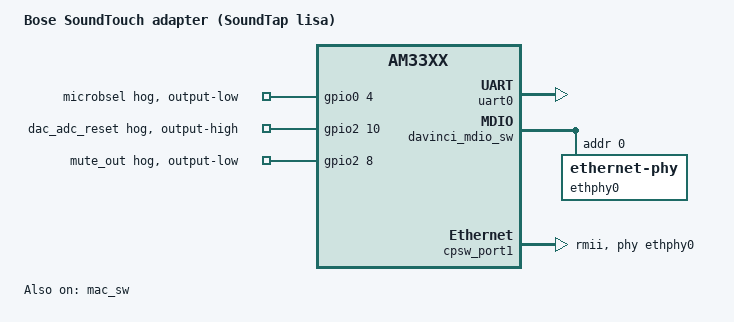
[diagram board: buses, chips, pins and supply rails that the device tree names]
// SPDX-License-Identifier: GPL-2.0-only
// SPDX-FileCopyrightText: 2026 SoundTap contributors
/*
 * The SoundTouch adapter on the Shelby 2 module (stock lisa, lisa2 under SoundTap), for the SA-4, SoundTouch Stereo JC,
 * Wave SoundTouch, CineMate and older Lifestyle and VideoWave hosts. Preview, never booted.
 * Compared with the stock rhino_sm2 tree, stock's lisa_sm2 changes these, so this is the ST10's
 * tree with them:
 *
 * - UART0 is the Bose link to the host (stock uart0_pins_default, 0x170 0x30 0x174 0x00), not
 *   the infrared receiver's line: soundtapd is the link's master over /dev/ttyS0
 *   (internal/abl). There is no IR receiver.
 * - No codec: stock disables the AIC3256 and sends I2S from McASP0 at 46875 Hz, on the ST10's
 *   pads, to a converter on the adapter board. The ST10's McASP output node stays. Stock's
 *   APConfig-<host> drives the converter through DacAdcReset (dac_adc_reset, gpio2_10, high
 *   enables it, 3 s after power-up) and mutes through the host (ABLMute), never mute_out: this
 *   tree holds the converter enabled and mute_out (gpio2_8) low, as stock's gpiodev boots it.
 * - The rear Ethernet port, wired as on the ST300 (stock rmii1_pins_default, RMII, PHY at 0).
 * - Two lamps, the Series III's: white PWM on DM timer 4, amber gpio2_17.
 * - The rear micro-B mux (gpiodev microbsel, gpio0_4) held low as stock boots it.
 */
#include "am335x-soundtap-st10.dts"

/ {
	model = "Bose SoundTouch adapter (SoundTap lisa)";
	compatible = "bose,lisa-sm2", "ti,am33xx";

	chosen {
		bootargs = "console=ttyS3,115200n8 root=ubi0:rootfs ro rootfstype=ubifs ubi.mtd=9,2048 rootwait init=/init mem=128M cma=8M panic=10 omap_wdt.early_enable=1 variant=lisa2 module_type=sm2 country=GB region=GB soundtap.nandroot=1 soundtap.watchdog=90";
	};

	/delete-node/ ir-receiver;

	leds {
		pinctrl-0 = <&wifi_amber_pins>;
		/delete-node/ bt-white;
		/delete-node/ soundtouch-white;
		/delete-node/ soundtouch-amber;
		/delete-node/ bt-blue;
		/delete-node/ aux-white;
	};
};

&am33xx_pinmux {
	/delete-node/ pinmux-ir-pins;

	wifi_amber_pins: pinmux-wifi-amber-pins {
		pinctrl-single,pins = <
			AM33XX_PADCONF(AM335X_PIN_LCD_DATA11, PIN_OUTPUT_PULLDOWN, MUX_MODE7) /* gpio2_17 wifi amber */
		>;
	};

	/* The Bose link: stock uart0_pins_default. */
	uart0_pins: pinmux-uart0-pins {
		pinctrl-single,pins = <
			AM33XX_PADCONF(AM335X_PIN_UART0_RXD, PIN_INPUT_PULLUP, MUX_MODE0)
			AM33XX_PADCONF(AM335X_PIN_UART0_TXD, PIN_OUTPUT, MUX_MODE0)
		>;
	};

	microbsel_pins: pinmux-microbsel-pins {
		pinctrl-single,pins = <
			AM33XX_PADCONF(AM335X_PIN_SPI0_D1, PIN_OUTPUT, MUX_MODE7) /* gpio0_4 microbsel */
			AM33XX_PADCONF(AM335X_PIN_GPMC_CLK, PIN_INPUT_PULLDOWN, MUX_MODE7) /* gpio2_1 microbdet (stock 0x8c 0x27) */
		>;
	};

	/* Stock rmii1_pins_default and davinci_mdio_default, as on the ST300. */
	rmii1_pins: pinmux-rmii1-pins {
		pinctrl-single,pins = <
			AM33XX_PADCONF(AM335X_PIN_MII1_CRS, PIN_INPUT_PULLDOWN, MUX_MODE1) /* rmii1_crs_dv */
			AM33XX_PADCONF(AM335X_PIN_MII1_RX_ER, PIN_INPUT_PULLDOWN, MUX_MODE1) /* rmii1_rx_er */
			AM33XX_PADCONF(AM335X_PIN_MII1_TX_EN, PIN_OUTPUT_PULLDOWN, MUX_MODE1) /* rmii1_tx_en */
			AM33XX_PADCONF(AM335X_PIN_MII1_TXD1, PIN_OUTPUT_PULLDOWN, MUX_MODE1) /* rmii1_txd1 */
			AM33XX_PADCONF(AM335X_PIN_MII1_TXD0, PIN_OUTPUT_PULLDOWN, MUX_MODE1) /* rmii1_txd0 */
			AM33XX_PADCONF(AM335X_PIN_MII1_RXD1, PIN_INPUT_PULLDOWN, MUX_MODE1) /* rmii1_rxd1 */
			AM33XX_PADCONF(AM335X_PIN_MII1_RXD0, PIN_INPUT_PULLDOWN, MUX_MODE1) /* rmii1_rxd0 */
			AM33XX_PADCONF(AM335X_PIN_RMII1_REF_CLK, PIN_INPUT_PULLDOWN, MUX_MODE0) /* rmii1_refclk */
		>;
	};

	mdio_pins: pinmux-mdio-pins {
		pinctrl-single,pins = <
			AM33XX_PADCONF(AM335X_PIN_MDIO, PIN_INPUT_PULLUP, MUX_MODE0)
			AM33XX_PADCONF(AM335X_PIN_MDC, PIN_OUTPUT_PULLUP, MUX_MODE0)
		>;
	};
};

&uart0 {
	pinctrl-names = "default";
	pinctrl-0 = <&uart0_pins>;
	status = "okay";
};

&gpio0 {
	pinctrl-names = "default";
	pinctrl-0 = <&microbsel_pins>;

	microbsel-hog {
		gpio-hog;
		gpios = <4 GPIO_ACTIVE_HIGH>;
		output-low;
		line-name = "microbsel";
	};
};

&gpio1 {
	/delete-node/ ir-power-hog;
};

&gpio2 {
	/* The converter enabled: stock's DacAdcReset, polarity true. */
	dac-reset-hog {
		gpio-hog;
		gpios = <10 GPIO_ACTIVE_HIGH>;
		output-high;
		line-name = "dac_adc_reset";
	};

	/* mute_out as stock's gpiodev boots it (initial 0); nothing on the adapter drives it. */
	mute-out-hog {
		gpio-hog;
		gpios = <8 GPIO_ACTIVE_HIGH>;
		output-low;
		line-name = "mute_out";
	};
};

/* Rear Ethernet: RMII, PHY at address 0, reference clock from the board (stock rmii-clock-ext). */
&mac_sw {
	pinctrl-names = "default";
	pinctrl-0 = <&rmii1_pins>;
	status = "okay";
};

&davinci_mdio_sw {
	pinctrl-names = "default";
	pinctrl-0 = <&mdio_pins>;

	ethphy0: ethernet-phy@0 {
		reg = <0>;
	};
};

&cpsw_port1 {
	phy-handle = <&ethphy0>;
	phy-mode = "rmii";
	ti,dual-emac-pvid = <1>;
};

&cpsw_port2 {
	status = "disabled";
};
